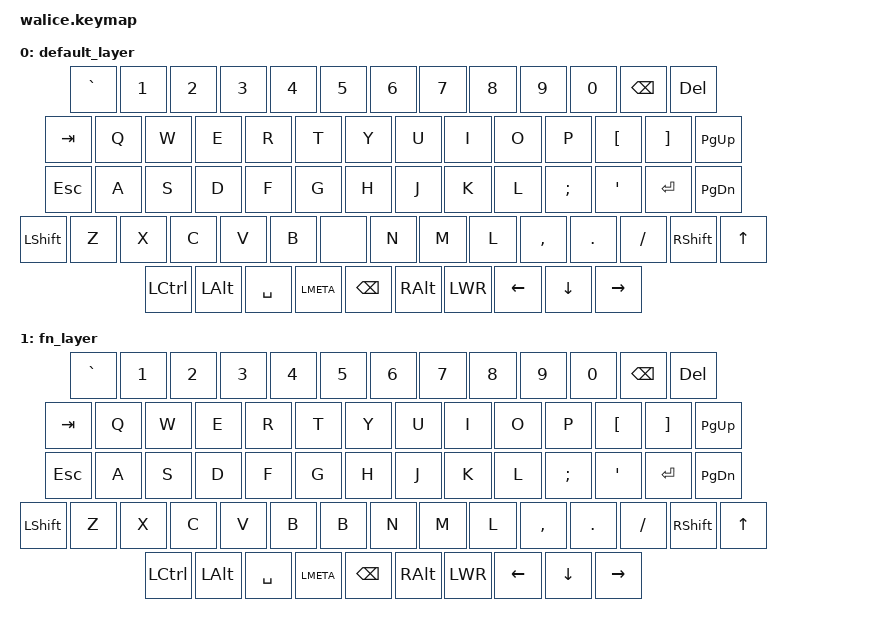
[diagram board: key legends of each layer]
/*
 * This program is free software:
 * you can redistribute it and/or modify it under the terms of the GNU General Public Licenses
 * as published by the Free Software Foundation;
 * either version 3 of the License, or (at your option) any later version.
 *
 * This program is distributed in the hope that it will be useful,but WITHOUT ANY WARRANTY;
 * without even the implied warranty of MERCHANTABILITY or FITNESS FOR A PARTICULAR PURPOSE.
 * See the GNU General Public License for more details.
 *
 * You should have received a copy of the GNU General Public License along with this program.
 * If not, see https://www.gnu.org/licenses/.
 *
 * author: snooze (schizophrenical@pm.me)
 */

#include <behaviors.dtsi>
#include <dt-bindings/zmk/keys.h>

// LAYERS
#define DEFAULT 0
#define SYMBOL 1
#define FUNCTION 2

/ {
    keymap {
        compatible = "zmk,keymap";
// ================================================================================================
//
// DEFAULT LAYER
//
// ================================================================================================
//     ----- --- --- --- --- --- ---            --- --- --- --- --- --- -------        ------
//    |  `  | 1 | 2 | 3 | 4 | 5 | 6 |          | 7 | 8 | 9 | 0 | - | = |  DEL  |      |  DEL |
//     ----- --- --- --- --- --- ---            --- --- --- --- --- --- -------        ------
//    ----- --- --- --- --- ---              --- --- --- --- --- --- --- ---           ------
//   | TAB | Q | W | E | R | T |            | Y | U | I | O | P | [ | ] | | |         | PGUP |
//    ----- --- --- --- --- ---              --- --- --- --- --- --- --- ---           ------
//   ------- --- --- --- --- ---               --- --- --- --- --- --- --------        ------
//  |  ESC  | A | S | D | F | G |             | H | J | K | L | ; | ' | RETURN |      | PGDN |
//   ------- --- --- --- --- ---               --- --- --- --- --- --- --------        ------
//  ---------- --- --- --- --- ---          --- --- --- --- --- --- -------    ------
// |   SHFT   | Z | X | C | V | B |        | B | N | M | , | . | / | RSHFT |  |  UP  |
//  ---------- --- --- --- --- ---          --- --- --- --- --- --- -------    ------
//  ------         ----- ------- -----      --------- ------ ----       ------ ------ -------
// | CTRL |       | ALT | SPACE | CMD |    |  BKSPC  | RALT | MO |     | LEFT | DOWN | RIGHT |
//  ------         ----- ------- -----      --------- ------ ----       ------ ------ -------
// TODO: Check if Hold-Tap will work on SHIFT
// SHIFT : Tap to CAPSLOCK.
//       : Hold to activate SYMBOL layer.
//       : RSHIFT does the same.
// Remaps: CAPSLOCK to ESC
//       : ESC to GRAVE
//
// See mod morph for SYMBOL layers.
//
        default_layer {
            bindings = <
&kp GRAVE &kp N1 &kp N2 &kp N3 &kp N4 &kp N5 &kp N6  &kp N7 &kp N8 &kp N9 &kp N0 &kp BSPC                                 &kp DEL
&kp TAB   &kp Q  &kp W  &kp E  &kp R  &kp T         &kp Y &kp U &kp I &kp O &kp P &kp LBKT &kp RBKT                       &kp PG_UP
&kp ESC   &kp A  &kp S  &kp D  &kp F  &kp G          &kp H &kp J &kp K &kp L &kp SEMI &kp SQT &kp RET                     &kp PG_DN
&kp LSHFT &kp Z  &kp X  &kp C  &kp V  &kp B        &none &kp N &kp M &kp L &kp COMMA &kp DOT &kp FSLH &kp RSHFT  &kp UP
&kp LCTRL        &kp LALT &kp SPACE &kp LMETA      &kp BSPC &kp RALT &kp LWR                            &kp LEFT &kp DOWN &kp RIGHT
           >;
	};
// ================================================================================================
//
// FUNCTION LAYER
//
// ================================================================================================
//     -------- ----- ----- ----- ----- ----- ---            --- --- --- --- --- --- -------     ------
//    | BT CLR | BT1 | BT2 | BT3 | BT4 | BT5 |   |          |   |   |   |   |   |   |       |   |      |
//     -------- ----- ----- ----- ----- ----- ---            --- --- --- --- --- --- -------     ------
//    ----- ---- ---- ---- ---- ----              ---- ---- ---- ---- ----- ----- ----- ---      ------
//   |     | F1 | F2 | F3 | F4 | F5 |            | F6 | F7 | F8 | F9 | F10 | F11 | F12 |   |    |      |
//    ----- ---- ---- ---- ---- ----              ---- ---- ---- ---- ----- ----- ----- ---      ------
//   ------- --- --- --- --- ----              ------ ------ ---- ------- --- --- --------       ------
//  |   ~   | ! | @ | # | $ | % |             | LEFT | DOWN | UP | RIGHT |   |   | CPSLCK |     |      |
//   ------- --- --- --- --- ---               ------ ------ ---- ------- --- --- --------       ------
//  ---------- --- --- --- --- ---          ---- --- --- --- --- --- -------    ------
// |          |   |   |   |   |   |        | ^  | & | ( | ) | ` |   |       |  |  UP  |
//  ---------- --- --- --- --- ---          ---- --- --- --- --- --- -------    ------
//  ------         ----- ------- -----      --------- ------ ----       ------ ------ -------
// |      |       |     |       |     |    |         |      | FN |     | LEFT | DOWN | RIGHT |
//  ------         ----- ------- -----      --------- ------ ----       ------ ------ -------
        fn_layer {
	    // FIXME : Update bindings
            bindings = <
&kp GRAVE &kp N1 &kp N2 &kp N3 &kp N4 &kp N5 &kp N6  &kp N7 &kp N8 &kp N9 &kp N0 &kp BSPC                                 &kp DEL
&kp TAB   &kp Q  &kp W  &kp E  &kp R  &kp T         &kp Y &kp U &kp I &kp O &kp P &kp LBKT &kp RBKT                       &kp PG_UP
&kp ESC   &kp A  &kp S  &kp D  &kp F  &kp G          &kp H &kp J &kp K &kp L &kp SEMI &kp SQT &kp RET                     &kp PG_DN
&kp LSHFT &kp Z  &kp X  &kp C  &kp V  &kp B        &kp B &kp N &kp M &kp L &kp COMMA &kp DOT &kp FSLH &kp RSHFT  &kp UP
&kp LCTRL        &kp LALT &kp SPACE &kp LMETA      &kp BSPC &kp RALT &kp LWR                            &kp LEFT &kp DOWN &kp RIGHT
           >;
	};
    };
};

// vi: ft=devicetree
